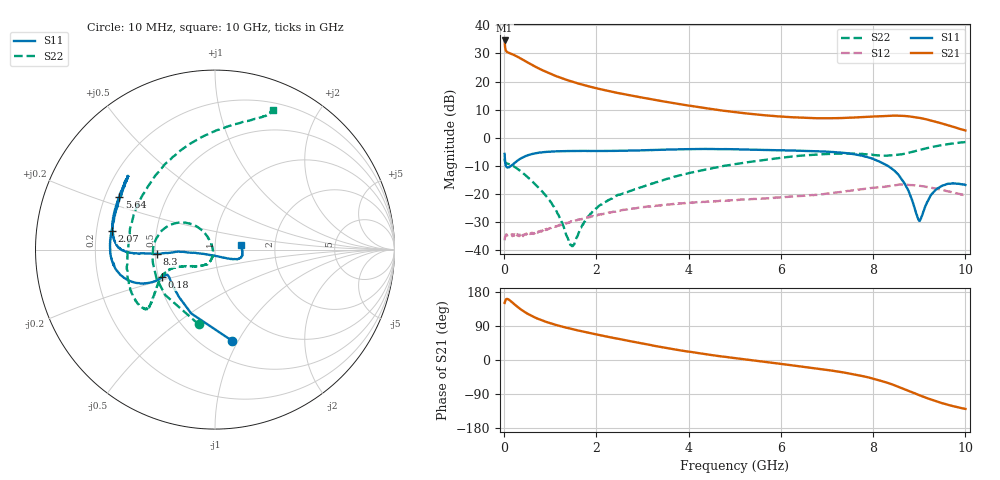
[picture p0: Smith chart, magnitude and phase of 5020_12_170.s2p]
# Hz S  dB  R 50
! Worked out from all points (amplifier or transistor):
!   1000 points, 10 MHz to 10 GHz, reference 50 ohm
!   highest |S21| = 34.6 dB at 10 MHz (marker M1)
!   |S21| within 3 dB of that: start of sweep to 27.45 MHz
!   unconditionally stable (mu >= 1): 56.89 MHz to end of sweep
!   at 1.67 GHz: K = 1.18, MAG = 21.4 dB, |S12| = -28.9 dB
!   at 5.01 GHz: K = 1.11, MAG = 13.6 dB, |S12| = -22.2 dB
!   at 10 GHz: K = 1.09, MAG = 9.7 dB, |S12| = -20.4 dB
!   S11 on the Smith chart (normalised r, x): 10 MHz: 0.68, -0.95; 180 MHz: 0.52, -0.18; 2.07 GHz: 0.26, +0.08; 5.64 GHz: 0.26, +0.24; 8.3 GHz: 0.51, -0.03; 10 GHz: 1.33, +0.06
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1e7  -5.70 -79.2  34.63 150.6  -36.43 29.1  -7.39 -102.2
7e7  -10.51 -148.5  30.48 161.1  -34.69 5.4  -9.15 -175.8
8e7  -10.50 -150.5  30.38 160.7  -34.46 8.3  -9.23 -178.5
1.1e8  -10.42 -152.2  30.18 158.6  -34.50 8.1  -9.37 174.3
1.8e8  -9.56 -152.4  29.70 151.6  -34.94 7.0  -9.86 163.0
2.9e8  -8.08 -152.6  28.84 140.2  -34.20 7.1  -11.00 150.5
4e8  -6.95 -155.0  27.84 130.3  -34.54 15.6  -12.39 140.9
5.6e8  -5.93 -159.7  26.33 118.6  -34.19 21.8  -14.67 131.0
7.5e8  -5.29 -164.9  24.68 107.9  -33.38 28.6  -17.76 124.2
9.2e8  -4.98 -168.9  23.36 100.3  -32.34 33.5  -20.86 120.8
1.12e9  -4.79 -173.1  22.00 92.7  -31.42 37.9  -25.65 120.5
1.46e9  -4.66 -179.3  20.05 81.9  -29.64 40.6  -38.09 -177.0
1.68e9  -4.64 176.8  19.00 75.8  -28.97 40.5  -31.47 -116.2
2.07e9  -4.64 169.6  17.38 65.7  -27.24 40.0  -24.01 -111.7
3.34e9  -4.27 147.0  13.28 35.6  -24.03 27.1  -15.60 -146.1
5.01e9  -4.04 143.1  9.16 4.7  -22.18 9.6  -9.33 -152.5
5.64e9  -4.30 151.1  8.04 -5.0  -21.51 4.4  -7.87 -145.2
6.67e9  -4.67 168.5  7.04 -20.6  -20.34 -5.0  -6.07 -138.7
8.3e9  -9.79 -175.8  7.79 -59.8  -17.22 -36.0  -6.33 169.4
8.34e9  -10.18 -175.7  7.83 -61.4  -17.16 -36.9  -6.23 166.2
9e9  -29.46 -101.9  7.13 -92.8  -17.05 -65.9  -4.32 102.5
1e10  -16.72 9.2  2.63 -129.0  -20.44 -98.8  -1.48 67.5
